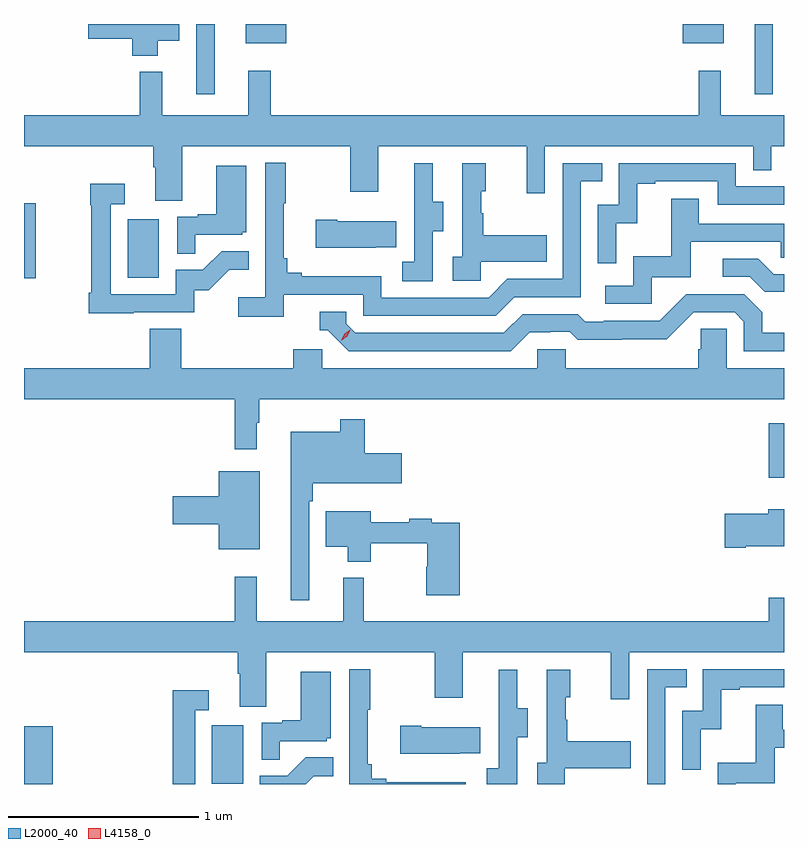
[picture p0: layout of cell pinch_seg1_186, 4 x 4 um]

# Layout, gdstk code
import gdstk
lib = gdstk.Library(unit=1e-6, precision=1e-09)
def R(c, l, rs):  # rectangles x0, y0, x1, y1
    for r in rs: c.add(gdstk.rectangle(r[:2], r[2:], *l))
def P(c, l, *ps):  # polygons
    for p in ps: c.add(gdstk.Polygon(p, *l))
L2000_40 = (2000, 40)
L4158_0 = (4158, 0)

pinch_seg1_186 = lib.new_cell('pinch_seg1_186')
R(pinch_seg1_186, L2000_40, [(1128.699,555.035,1128.851,555.339), (1129.688,555.036,1129.852,555.343), (1132.619,556.646,1132.699,556.933), (1128.699,557.697,1128.76,558.091), (1129.244,557.7,1129.408,558.007), (1129.605,558.666,1129.702,559.035), (1132.544,558.666,1132.641,559.035), (1129.865,558.935,1130.08,559.035), (1132.166,558.935,1132.381,559.035)])
P(pinch_seg1_186, L2000_40, [(1129.402,558.947),(1129.516,558.947),(1129.516,559.035),(1129.038,559.035),(1129.038,558.958),(1129.268,558.958),(1129.268,558.869),(1129.402,558.869)],
  [(1129.531,558.392),(1130.416,558.392),(1130.416,558.153),(1130.563,558.153),(1130.563,558.392),(1131.344,558.392),(1131.344,558.144),(1131.441,558.144),(1131.441,558.392),(1132.536,558.392),(1132.536,558.265),(1132.632,558.265),(1132.632,558.392),(1132.699,558.392),(1132.699,558.556),(1132.367,558.556),(1132.367,558.79),(1132.249,558.79),(1132.249,558.556),(1129.997,558.556),(1129.997,558.79),(1129.88,558.79),(1129.88,558.556),(1129.427,558.556),(1129.427,558.784),(1129.309,558.784),(1129.309,558.556),(1128.699,558.556),(1128.699,558.392),(1129.379,558.392),(1129.379,558.28),(1129.391,558.28),(1129.391,558.106),(1129.531,558.106)],
  [(1130.066,557.61),(1130.484,557.61),(1130.484,557.499),(1131.181,557.499),(1131.28,557.598),(1131.63,557.598),(1131.63,558.207),(1131.743,558.207),(1131.743,558.303),(1131.534,558.303),(1131.534,557.694),(1131.243,557.694),(1131.144,557.595),(1130.58,557.595),(1130.58,557.707),(1130.161,557.707),(1130.161,557.726),(1130.084,557.726),(1130.084,557.803),(1130.065,557.803),(1130.065,558.091),(1130.077,558.091),(1130.077,558.304),(1129.968,558.304),(1129.968,557.596),(1129.827,557.596),(1129.827,557.494),(1130.066,557.494)],
  [(1131.816,557.987),(1131.926,557.987),(1131.926,558.195),(1132.021,558.195),(1132.021,558.207),(1132.35,558.207),(1132.35,558.084),(1132.699,558.084),(1132.699,558.18),(1132.446,558.18),(1132.446,558.303),(1131.828,558.303),(1131.828,558.084),(1131.72,558.084),(1131.72,557.775),(1131.816,557.775)],
  [(1131.102,557.783),(1131.449,557.783),(1131.449,557.923),(1131.115,557.923),(1131.115,558.038),(1131.105,558.038),(1131.105,558.156),(1131.13,558.156),(1131.13,558.301),(1131.006,558.301),(1131.006,557.81),(1130.955,557.81),(1130.955,557.685),(1131.102,557.685)],
  [(1130.85,557.944),(1130.905,557.944),(1130.905,558.099),(1130.851,558.099),(1130.851,558.301),(1130.753,558.301),(1130.753,558.087),(1130.754,558.087),(1130.754,557.783),(1130.691,557.783),(1130.691,557.68),(1130.85,557.68)],
  [(1129.601,557.925),(1129.848,557.925),(1129.848,557.94),(1129.87,557.94),(1129.87,558.289),(1129.712,558.289),(1129.712,558.034),(1129.613,558.034),(1129.613,558.021),(1129.506,558.021),(1129.506,557.827),(1129.601,557.827)],
  [(1129.277,557.517),(1129.596,557.517),(1129.596,557.634),(1129.672,557.634),(1129.779,557.741),(1129.883,557.741),(1129.883,557.84),(1129.739,557.84),(1129.641,557.742),(1129.497,557.742),(1129.497,557.613),(1129.155,557.613),(1129.155,558.087),(1129.228,558.087),(1129.228,558.193),(1129.047,558.193),(1129.047,558.08),(1129.054,558.08),(1129.054,557.62),(1129.039,557.62),(1129.039,557.512),(1129.277,557.512)],
  [(1132.002,557.703),(1132.207,557.703),(1132.207,557.889),(1132.681,557.889),(1132.681,557.805),(1132.699,557.805),(1132.699,557.985),(1132.249,557.985),(1132.249,558.115),(1132.105,558.115),(1132.105,557.812),(1131.906,557.812),(1131.906,557.658),(1131.759,557.658),(1131.759,557.562),(1132.002,557.562)],
  [(1130.549,557.861),(1130.657,557.861),(1130.657,557.998),(1130.347,557.998),(1130.347,558.006),(1130.235,558.006),(1130.235,557.858),(1130.549,557.858)],
  [(1132.699,557.718),(1132.645,557.718),(1132.564,557.799),(1132.377,557.799),(1132.377,557.706),(1132.518,557.706),(1132.598,557.626),(1132.699,557.626)],
  [(1131.361,557.412),(1131.468,557.412),(1131.468,557.415),(1131.571,557.415),(1131.613,557.373),(1131.846,557.373),(1131.846,557.375),(1132.082,557.375),(1132.224,557.517),(1132.44,557.517),(1132.488,557.469),(1132.488,557.313),(1132.699,557.313),(1132.699,557.409),(1132.585,557.409),(1132.585,557.519),(1132.491,557.613),(1132.185,557.613),(1132.044,557.472),(1131.751,557.472),(1131.751,557.469),(1131.652,557.469),(1131.613,557.508),(1131.324,557.508),(1131.225,557.409),(1130.442,557.409),(1130.394,557.457),(1130.394,557.52),(1130.255,557.52),(1130.255,557.424),(1130.298,557.424),(1130.409,557.313),(1131.262,557.313)],
  [(1129.924,556.937),(1129.936,556.937),(1129.936,557.06),(1132.699,557.06),(1132.699,557.224),(1132.398,557.224),(1132.398,557.432),(1132.261,557.432),(1132.261,557.322),(1132.247,557.322),(1132.247,557.224),(1131.549,557.224),(1131.549,557.322),(1131.399,557.322),(1131.399,557.224),(1130.268,557.224),(1130.268,557.322),(1130.117,557.322),(1130.117,557.224),(1129.526,557.224),(1129.526,557.432),(1129.361,557.432),(1129.361,557.224),(1128.699,557.224),(1128.699,557.06),(1129.807,557.06),(1129.807,556.797),(1129.924,556.797)],
  [(1130.199,556.523),(1130.219,556.523),(1130.219,556.619),(1130.686,556.619),(1130.686,556.777),(1130.492,556.777),(1130.492,556.954),(1130.364,556.954),(1130.364,556.888),(1130.102,556.888),(1130.102,556.002),(1130.199,556.002)],
  [(1129.939,556.681),(1129.724,556.681),(1129.724,556.55),(1129.482,556.55),(1129.482,556.403),(1129.724,556.403),(1129.724,556.271),(1129.939,556.271)],
  [(1132.498,556.286),(1132.699,556.286),(1132.699,556.48),(1132.616,556.48),(1132.616,556.457),(1132.386,556.457),(1132.386,556.279),(1132.498,556.279)],
  [(1130.993,556.41),(1130.846,556.41),(1130.846,556.43),(1130.726,556.43),(1130.726,556.412),(1130.524,556.412),(1130.524,556.471),(1130.288,556.471),(1130.288,556.283),(1130.402,556.283),(1130.402,556.205),(1130.524,556.205),(1130.524,556.302),(1130.822,556.302),(1130.822,556.179),(1130.815,556.179),(1130.815,556.029),(1130.993,556.029)],
  [(1129.975,555.728),(1130.86,555.728),(1130.86,555.489),(1131.007,555.489),(1131.007,555.728),(1131.788,555.728),(1131.788,555.48),(1131.885,555.48),(1131.885,555.728),(1132.699,555.728),(1132.699,556.016),(1132.619,556.016),(1132.619,555.892),(1130.488,555.892),(1130.488,556.12),(1130.378,556.12),(1130.378,555.892),(1129.925,555.892),(1129.925,556.126),(1129.807,556.126),(1129.807,555.892),(1128.699,555.892),(1128.699,555.728),(1129.823,555.728),(1129.823,555.616),(1129.835,555.616),(1129.835,555.442),(1129.975,555.442)],
  [(1131.024,555.043),(1130.605,555.043),(1130.605,555.062),(1130.528,555.062),(1130.528,555.139),(1130.509,555.139),(1130.509,555.427),(1130.521,555.427),(1130.521,555.64),(1130.412,555.64),(1130.412,555.035),(1131.024,555.035)],
  [(1132.074,555.543),(1132.187,555.543),(1132.187,555.639),(1131.978,555.639),(1131.978,555.035),(1132.074,555.035)],
  [(1132.26,555.323),(1132.37,555.323),(1132.37,555.531),(1132.465,555.531),(1132.465,555.543),(1132.699,555.543),(1132.699,555.639),(1132.272,555.639),(1132.272,555.42),(1132.164,555.42),(1132.164,555.111),(1132.26,555.111)],
  [(1131.294,555.28),(1131.349,555.28),(1131.349,555.435),(1131.295,555.435),(1131.295,555.637),(1131.197,555.637),(1131.197,555.423),(1131.198,555.423),(1131.198,555.119),(1131.135,555.119),(1131.135,555.035),(1131.294,555.035)],
  [(1131.546,555.119),(1131.893,555.119),(1131.893,555.259),(1131.559,555.259),(1131.559,555.374),(1131.549,555.374),(1131.549,555.492),(1131.574,555.492),(1131.574,555.637),(1131.45,555.637),(1131.45,555.146),(1131.399,555.146),(1131.399,555.035),(1131.546,555.035)],
  [(1130.045,555.261),(1130.292,555.261),(1130.292,555.276),(1130.314,555.276),(1130.314,555.625),(1130.156,555.625),(1130.156,555.37),(1130.057,555.37),(1130.057,555.357),(1129.95,555.357),(1129.95,555.163),(1130.045,555.163)],
  [(1129.599,555.423),(1129.672,555.423),(1129.672,555.529),(1129.483,555.529),(1129.483,555.035),(1129.599,555.035)],
  [(1132.446,555.039),(1132.651,555.039),(1132.651,555.225),(1132.699,555.225),(1132.699,555.321),(1132.693,555.321),(1132.693,555.451),(1132.549,555.451),(1132.549,555.148),(1132.35,555.148),(1132.35,555.035),(1132.446,555.035)],
  [(1130.993,555.197),(1131.101,555.197),(1131.101,555.334),(1130.791,555.334),(1130.791,555.342),(1130.679,555.342),(1130.679,555.194),(1130.993,555.194)],
  [(1130.223,555.077),(1130.327,555.077),(1130.327,555.176),(1130.183,555.176),(1130.085,555.078),(1129.941,555.078),(1129.941,555.035),(1130.181,555.035)])
P(pinch_seg1_186, L4158_0, [(1130.37,557.371),(1130.37,557.371),(1130.386,557.404),(1130.416,557.425),(1130.417,557.425),(1130.417,557.424),(1130.401,557.391),(1130.371,557.371)])

lib.write_gds('pinch_seg1_186.gds')
